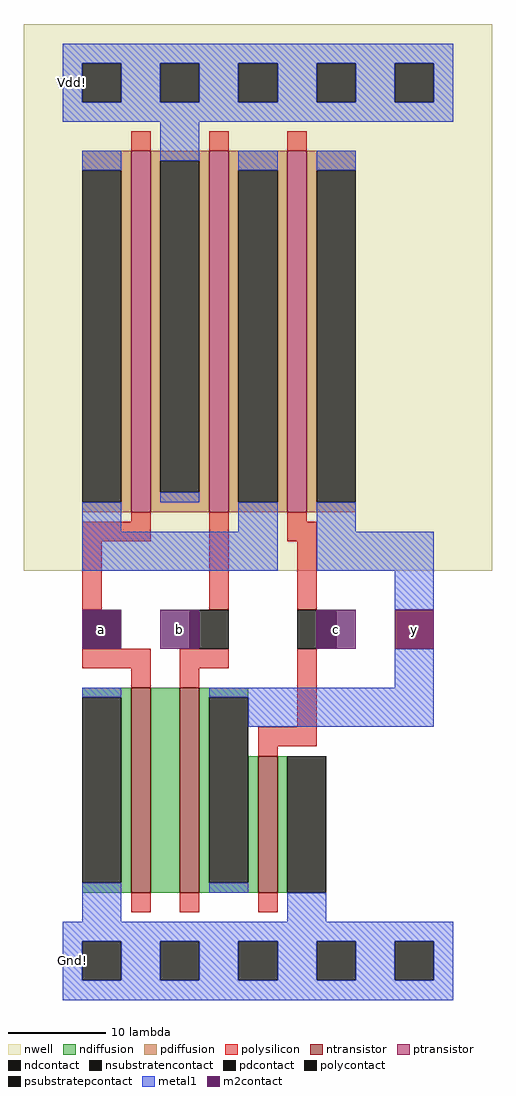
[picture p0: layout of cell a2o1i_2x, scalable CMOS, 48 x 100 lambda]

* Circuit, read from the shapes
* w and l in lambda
.subckt a2o1i_2x Gnd! Vdd! a b c y
M1 n1 a Gnd! Gnd! nfet w=21 l=2
M2 y b n1 Gnd! nfet w=21 l=2
M3 Gnd! c y Gnd! nfet w=14 l=2
M4 Vdd! a n2 Vdd! pfet w=37 l=2
M5 n2 b Vdd! Vdd! pfet w=37 l=2
M6 y c n2 Vdd! pfet w=37 l=2
.ends

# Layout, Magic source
magic
tech scmos
<< nwell >>
rect -4 40 44 96
<< ntransistor >>
rect 7 7 9 28
rect 12 7 14 28
rect 20 7 22 21
<< ptransistor >>
rect 7 46 9 83
rect 15 46 17 83
rect 23 46 25 83
<< ndiffusion >>
rect 2 27 7 28
rect 6 8 7 27
rect 2 7 7 8
rect 9 7 12 28
rect 14 27 19 28
rect 14 8 15 27
rect 19 8 20 21
rect 14 7 20 8
rect 22 7 23 21
<< pdiffusion >>
rect 2 81 7 83
rect 6 47 7 81
rect 2 46 7 47
rect 9 82 15 83
rect 9 48 10 82
rect 14 48 15 82
rect 9 46 15 48
rect 17 81 23 83
rect 17 47 18 81
rect 22 47 23 81
rect 17 46 23 47
rect 25 81 30 83
rect 25 47 26 81
rect 25 46 30 47
<< ndcontact >>
rect 2 8 6 27
rect 15 8 19 27
rect 23 7 27 21
<< pdcontact >>
rect 2 47 6 81
rect 10 48 14 82
rect 18 47 22 81
rect 26 47 30 81
<< psubstratepcontact >>
rect 2 -2 6 2
rect 10 -2 14 2
rect 18 -2 22 2
rect 26 -2 30 2
rect 34 -2 38 2
<< nsubstratencontact >>
rect 2 88 6 92
rect 10 88 14 92
rect 18 88 22 92
rect 26 88 30 92
rect 34 88 38 92
<< polysilicon >>
rect 7 83 9 85
rect 15 83 17 85
rect 23 83 25 85
rect 7 45 9 46
rect 2 43 9 45
rect 2 36 4 43
rect 15 36 17 46
rect 23 45 25 46
rect 23 43 26 45
rect 2 30 9 32
rect 7 28 9 30
rect 12 30 17 32
rect 24 36 26 43
rect 34 32 38 36
rect 12 28 14 30
rect 24 24 26 32
rect 20 22 26 24
rect 20 21 22 22
rect 7 5 9 7
rect 12 5 14 7
rect 20 5 22 7
<< polycontact >>
rect 2 32 6 36
rect 13 32 17 36
rect 24 32 28 36
<< metal1 >>
rect 0 92 40 94
rect 0 88 2 92
rect 6 88 10 92
rect 14 88 18 92
rect 22 88 26 92
rect 30 88 34 92
rect 38 88 40 92
rect 0 86 40 88
rect 2 81 6 83
rect 10 82 14 86
rect 10 47 14 48
rect 18 81 22 83
rect 2 44 6 47
rect 18 44 22 47
rect 2 40 22 44
rect 26 81 30 83
rect 26 44 30 47
rect 26 40 38 44
rect 34 36 38 40
rect 34 28 38 32
rect 2 27 6 28
rect 2 4 6 8
rect 15 27 38 28
rect 19 24 38 27
rect 15 7 19 8
rect 23 4 27 7
rect 0 2 40 4
rect 0 -2 2 2
rect 6 -2 10 2
rect 14 -2 18 2
rect 22 -2 26 2
rect 30 -2 34 2
rect 38 -2 40 2
rect 0 -4 40 -2
<< m2contact >>
rect 2 32 6 36
rect 10 32 13 36
rect 13 32 14 36
rect 26 32 28 36
rect 28 32 30 36
rect 34 32 38 36
<< labels >>
rlabel metal1 1 0 1 0 2 Gnd!
rlabel metal1 1 90 1 90 3 Vdd!
rlabel m2contact 4 34 4 34 1 a
rlabel m2contact 12 34 12 34 1 b
rlabel m2contact 28 34 28 34 1 c
rlabel m2contact 36 34 36 34 1 y
<< end >>
